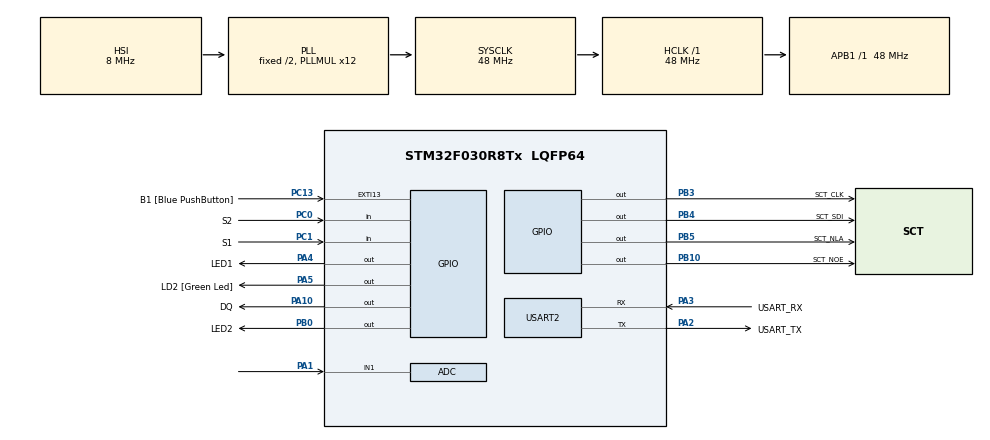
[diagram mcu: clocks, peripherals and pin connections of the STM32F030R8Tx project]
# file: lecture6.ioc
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ADC.ContinuousConvMode=ENABLE
ADC.Overrun=ADC_OVR_DATA_OVERWRITTEN
ADC.Resolution=ADC_RESOLUTION_10B
Mcu.Family=STM32F0
Mcu.Name=STM32F030R8Tx
Mcu.Package=LQFP64
PA1.Mode=IN1
PA1.Signal=ADC_IN1
PA10.GPIO_Label=DQ
PA10.GPIO_ModeDefaultOutputPP=GPIO_MODE_OUTPUT_OD
PA10.GPIO_PuPd=GPIO_NOPULL
PA10.PinState=GPIO_PIN_SET
PA10.Signal=GPIO_Output
PA13.GPIO_Label=TMS
PA13.Mode=Serial_Wire
PA13.Signal=SYS_SWDIO
PA14.GPIO_Label=TCK
PA14.Mode=Serial_Wire
PA14.Signal=SYS_SWCLK
PA2.GPIO_Label=USART_TX
PA2.GPIO_Mode=GPIO_MODE_AF_PP
PA2.GPIO_PuPd=GPIO_NOPULL
PA2.GPIO_Speed=GPIO_SPEED_FREQ_LOW
PA2.Mode=Asynchronous
PA2.Signal=USART2_TX
PA3.GPIO_Label=USART_RX
PA3.GPIO_Mode=GPIO_MODE_AF_PP
PA3.GPIO_PuPd=GPIO_NOPULL
PA3.GPIO_Speed=GPIO_SPEED_FREQ_LOW
PA3.Mode=Asynchronous
PA3.Signal=USART2_RX
PA4.GPIO_Label=LED1
PA4.Signal=GPIO_Output
PA5.GPIO_Label=LD2 [Green Led]
PA5.GPIO_Mode=GPIO_MODE_OUTPUT_PP
PA5.GPIO_PuPd=GPIO_NOPULL
PA5.GPIO_Speed=GPIO_SPEED_FREQ_LOW
PA5.Signal=GPIO_Output
PB0.GPIO_Label=LED2
PB0.Signal=GPIO_Output
PB10.GPIO_Label=SCT_NOE
PB10.Signal=GPIO_Output
PB3.GPIO_Label=SCT_CLK
PB3.Signal=GPIO_Output
PB4.GPIO_Label=SCT_SDI
PB4.Signal=GPIO_Output
PB5.GPIO_Label=SCT_NLA
PB5.Signal=GPIO_Output
PC0.GPIO_Label=S2
PC0.GPIO_PuPd=GPIO_PULLUP
PC0.Signal=GPIO_Input
PC1.GPIO_Label=S1
PC1.GPIO_PuPd=GPIO_PULLUP
PC1.Signal=GPIO_Input
PC13.GPIO_Label=B1 [Blue PushButton]
PC13.GPIO_ModeDefaultEXTI=GPIO_MODE_IT_FALLING
PC13.Signal=GPXTI13
PC14-OSC32_IN.Mode=LSE-External-Oscillator
PC14-OSC32_IN.Signal=RCC_OSC32_IN
PC15-OSC32_OUT.Mode=LSE-External-Oscillator
PC15-OSC32_OUT.Signal=RCC_OSC32_OUT
PF0-OSC_IN.Mode=HSE-External-Clock-Source
PF0-OSC_IN.Signal=RCC_OSC_IN
PF1-OSC_OUT.Signal=RCC_OSC_OUT
ProjectManager.HeapSize=0x200
ProjectManager.StackSize=0x400
ProjectManager.TargetToolchain=STM32CubeIDE
RCC.AHBFreq_Value=48000000
RCC.APB1Freq_Value=48000000
RCC.APB1TimFreq_Value=48000000
RCC.HCLKFreq_Value=48000000
RCC.PLLMUL=RCC_PLL_MUL12
RCC.SYSCLKFreq_VALUE=48000000
RCC.SYSCLKSource=RCC_SYSCLKSOURCE_PLLCLK
USART2.VirtualMode-Asynchronous=VM_ASYNC
board=NUCLEO-F030R8

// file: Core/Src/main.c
/* USER CODE BEGIN Header */
/**
  ******************************************************************************
  * @file           : main.c
  * @brief          : Main program body
  ******************************************************************************
  * @attention
  *
  * Copyright (c) 2024 STMicroelectronics.
  * All rights reserved.
  *
  * This software is licensed under terms that can be found in the LICENSE file
  * in the root directory of this software component.
  * If no LICENSE file comes with this software, it is provided AS-IS.
  *
  ******************************************************************************
  */
/* USER CODE END Header */
#include "main.h"

/* USER CODE BEGIN Includes */
#include "1wire.h"
#include "sct.h"
/* USER CODE END Includes */

/* USER CODE BEGIN PD */
#define TIME 	40
/* USER CODE END PD */

ADC_HandleTypeDef hadc;

UART_HandleTypeDef huart2;

/* USER CODE BEGIN PV */
int16_t data[]={
#include "data.dlm"
};
volatile uint32_t tick;
uint8_t convert = 0;
/* USER CODE END PV */

void SystemClock_Config(void);
static void MX_GPIO_Init(void);
static void MX_USART2_UART_Init(void);
static void MX_ADC_Init(void);

int main(void)
{

  /* MCU Configuration--------------------------------------------------------*/

  /* Reset of all peripherals, Initializes the Flash interface and the Systick. */
  HAL_Init();

  /* Configure the system clock */
  SystemClock_Config();

  /* Initialize all configured peripherals */
  MX_GPIO_Init();
  MX_USART2_UART_Init();
  MX_ADC_Init();
  /* USER CODE BEGIN 2 */
  OWInit();
  sct_init();

  HAL_ADCEx_Calibration_Start(&hadc);
  HAL_ADC_Start(&hadc);

  /* USER CODE END 2 */

  /* Infinite loop */
  /* USER CODE BEGIN WHILE */
  while (1)
  {
	  static enum { SHOW_NTC, SHOW_AD } state = SHOW_NTC;
	  if (HAL_GPIO_ReadPin(S2_GPIO_Port, S2_Pin)==0){
		  state=SHOW_NTC;
	  }

	  if (HAL_GPIO_ReadPin(S1_GPIO_Port, S1_Pin)==0){
		  state=SHOW_AD;
	  }

	  //uint32_t result;
	  static uint32_t last_button_tick;
	  static uint32_t last_button_tick1;
	  /*result=HAL_ADC_GetValue(&hadc);
	  sct_value(data[result],0);
	  HAL_Delay(100);*/
	  if( state == SHOW_AD ){

		  HAL_GPIO_WritePin(LED2_GPIO_Port, LED2_Pin, 1);
		  HAL_GPIO_WritePin(LED1_GPIO_Port, LED1_Pin, 0);

		// Zahajeni prevodu teploty, pokud prevod nebyl zahajen
		  if(convert=0){
			  OWConvertAll();
			  convert=1;
		  }
		  OWConvertAll();

		// Kontrola casoveho zpozdeni pro prevod teploty
		  if ( HAL_GetTick()>last_button_tick+CONVERT_T_DELAY){
			  convert =0; // Resetovani priznaku prevodu
			  last_button_tick = HAL_GetTick(); // Aktualizace casu posledniho prevodu

			// Cteni a zobrazeni teploty
			  int16_t value;
			  if(OWReadTemperature(&value)){
			 		 sct_value(value/10, 0); // Zobrazeni hodnoty na displeji
			 }
		  }

	  }

	  if( state == SHOW_NTC && HAL_GetTick()>last_button_tick1+TIME){
		  last_button_tick1 = HAL_GetTick();
		  HAL_GPIO_WritePin(LED2_GPIO_Port, LED2_Pin, 0);
		  HAL_GPIO_WritePin(LED1_GPIO_Port, LED1_Pin, 1);
		  uint32_t result;
		// Mereni hodnoty z NTC termistoru pomoci ADC
		  result=HAL_ADC_GetValue(&hadc);
		  sct_value(data[result],0); // Zobrazeni hodnoty na displeji
		  HAL_Delay(100);
	  }

	  /*
	  OWConvertAll();
	  HAL_Delay(CONVERT_T_DELAY);

	  int16_t value;
	  if(OWReadTemperature(&value)){
		  sct_value(value/10, 0);
	  }*/

    /* USER CODE END WHILE */

  }
}

void SystemClock_Config(void)
{
  RCC_OscInitTypeDef RCC_OscInitStruct = {0};
  RCC_ClkInitTypeDef RCC_ClkInitStruct = {0};

  /** Initializes the RCC Oscillators according to the specified parameters
  * in the RCC_OscInitTypeDef structure.
  */
  RCC_OscInitStruct.OscillatorType = RCC_OSCILLATORTYPE_HSI|RCC_OSCILLATORTYPE_HSI14;
  RCC_OscInitStruct.HSIState = RCC_HSI_ON;
  RCC_OscInitStruct.HSI14State = RCC_HSI14_ON;
  RCC_OscInitStruct.HSICalibrationValue = RCC_HSICALIBRATION_DEFAULT;
  RCC_OscInitStruct.HSI14CalibrationValue = 16;
  RCC_OscInitStruct.PLL.PLLState = RCC_PLL_ON;
  RCC_OscInitStruct.PLL.PLLSource = RCC_PLLSOURCE_HSI;
  RCC_OscInitStruct.PLL.PLLMUL = RCC_PLL_MUL12;
  RCC_OscInitStruct.PLL.PREDIV = RCC_PREDIV_DIV1;
  if (HAL_RCC_OscConfig(&RCC_OscInitStruct) != HAL_OK)
  {
    Error_Handler();
  }

  /** Initializes the CPU, AHB and APB buses clocks
  */
  RCC_ClkInitStruct.ClockType = RCC_CLOCKTYPE_HCLK|RCC_CLOCKTYPE_SYSCLK
                              |RCC_CLOCKTYPE_PCLK1;
  RCC_ClkInitStruct.SYSCLKSource = RCC_SYSCLKSOURCE_PLLCLK;
  RCC_ClkInitStruct.AHBCLKDivider = RCC_SYSCLK_DIV1;
  RCC_ClkInitStruct.APB1CLKDivider = RCC_HCLK_DIV1;

  if (HAL_RCC_ClockConfig(&RCC_ClkInitStruct, FLASH_LATENCY_1) != HAL_OK)
  {
    Error_Handler();
  }
}

static void MX_ADC_Init(void)
{

  ADC_ChannelConfTypeDef sConfig = {0};

  /** Configure the global features of the ADC (Clock, Resolution, Data Alignment and number of conversion)
  */
  hadc.Instance = ADC1;
  hadc.Init.ClockPrescaler = ADC_CLOCK_ASYNC_DIV1;
  hadc.Init.Resolution = ADC_RESOLUTION_10B;
  hadc.Init.DataAlign = ADC_DATAALIGN_RIGHT;
  hadc.Init.ScanConvMode = ADC_SCAN_DIRECTION_FORWARD;
  hadc.Init.EOCSelection = ADC_EOC_SINGLE_CONV;
  hadc.Init.LowPowerAutoWait = DISABLE;
  hadc.Init.LowPowerAutoPowerOff = DISABLE;
  hadc.Init.ContinuousConvMode = ENABLE;
  hadc.Init.DiscontinuousConvMode = DISABLE;
  hadc.Init.ExternalTrigConv = ADC_SOFTWARE_START;
  hadc.Init.ExternalTrigConvEdge = ADC_EXTERNALTRIGCONVEDGE_NONE;
  hadc.Init.DMAContinuousRequests = DISABLE;
  hadc.Init.Overrun = ADC_OVR_DATA_OVERWRITTEN;
  if (HAL_ADC_Init(&hadc) != HAL_OK)
  {
    Error_Handler();
  }

  /** Configure for the selected ADC regular channel to be converted.
  */
  sConfig.Channel = ADC_CHANNEL_1;
  sConfig.Rank = ADC_RANK_CHANNEL_NUMBER;
  sConfig.SamplingTime = ADC_SAMPLETIME_1CYCLE_5;
  if (HAL_ADC_ConfigChannel(&hadc, &sConfig) != HAL_OK)
  {
    Error_Handler();
  }

}

static void MX_USART2_UART_Init(void)
{

  huart2.Instance = USART2;
  huart2.Init.BaudRate = 38400;
  huart2.Init.WordLength = UART_WORDLENGTH_8B;
  huart2.Init.StopBits = UART_STOPBITS_1;
  huart2.Init.Parity = UART_PARITY_NONE;
  huart2.Init.Mode = UART_MODE_TX_RX;
  huart2.Init.HwFlowCtl = UART_HWCONTROL_NONE;
  huart2.Init.OverSampling = UART_OVERSAMPLING_16;
  huart2.Init.OneBitSampling = UART_ONE_BIT_SAMPLE_DISABLE;
  huart2.AdvancedInit.AdvFeatureInit = UART_ADVFEATURE_NO_INIT;
  if (HAL_UART_Init(&huart2) != HAL_OK)
  {
    Error_Handler();
  }

}

static void MX_GPIO_Init(void)
{
  GPIO_InitTypeDef GPIO_InitStruct = {0};

  /* GPIO Ports Clock Enable */
  __HAL_RCC_GPIOC_CLK_ENABLE();
  __HAL_RCC_GPIOF_CLK_ENABLE();
  __HAL_RCC_GPIOA_CLK_ENABLE();
  __HAL_RCC_GPIOB_CLK_ENABLE();

  /*Configure GPIO pin Output Level */
  HAL_GPIO_WritePin(GPIOA, LED1_Pin|LD2_Pin, GPIO_PIN_RESET);

  /*Configure GPIO pin Output Level */
  HAL_GPIO_WritePin(GPIOB, LED2_Pin|SCT_NOE_Pin|SCT_CLK_Pin|SCT_SDI_Pin
                          |SCT_NLA_Pin, GPIO_PIN_RESET);

  /*Configure GPIO pin Output Level */
  HAL_GPIO_WritePin(DQ_GPIO_Port, DQ_Pin, GPIO_PIN_SET);

  /*Configure GPIO pin : B1_Pin */
  GPIO_InitStruct.Pin = B1_Pin;
  GPIO_InitStruct.Mode = GPIO_MODE_IT_FALLING;
  GPIO_InitStruct.Pull = GPIO_NOPULL;
  HAL_GPIO_Init(B1_GPIO_Port, &GPIO_InitStruct);

  /*Configure GPIO pins : S2_Pin S1_Pin */
  GPIO_InitStruct.Pin = S2_Pin|S1_Pin;
  GPIO_InitStruct.Mode = GPIO_MODE_INPUT;
  GPIO_InitStruct.Pull = GPIO_PULLUP;
  HAL_GPIO_Init(GPIOC, &GPIO_InitStruct);

  /*Configure GPIO pins : LED1_Pin LD2_Pin */
  GPIO_InitStruct.Pin = LED1_Pin|LD2_Pin;
  GPIO_InitStruct.Mode = GPIO_MODE_OUTPUT_PP;
  GPIO_InitStruct.Pull = GPIO_NOPULL;
  GPIO_InitStruct.Speed = GPIO_SPEED_FREQ_LOW;
  HAL_GPIO_Init(GPIOA, &GPIO_InitStruct);

  /*Configure GPIO pins : LED2_Pin SCT_NOE_Pin SCT_CLK_Pin SCT_SDI_Pin
                           SCT_NLA_Pin */
  GPIO_InitStruct.Pin = LED2_Pin|SCT_NOE_Pin|SCT_CLK_Pin|SCT_SDI_Pin
                          |SCT_NLA_Pin;
  GPIO_InitStruct.Mode = GPIO_MODE_OUTPUT_PP;
  GPIO_InitStruct.Pull = GPIO_NOPULL;
  GPIO_InitStruct.Speed = GPIO_SPEED_FREQ_LOW;
  HAL_GPIO_Init(GPIOB, &GPIO_InitStruct);

  /*Configure GPIO pin : DQ_Pin */
  GPIO_InitStruct.Pin = DQ_Pin;
  GPIO_InitStruct.Mode = GPIO_MODE_OUTPUT_OD;
  GPIO_InitStruct.Pull = GPIO_NOPULL;
  GPIO_InitStruct.Speed = GPIO_SPEED_FREQ_LOW;
  HAL_GPIO_Init(DQ_GPIO_Port, &GPIO_InitStruct);

}

void Error_Handler(void)
{
  __disable_irq();
  while (1)
  {
  }
}
